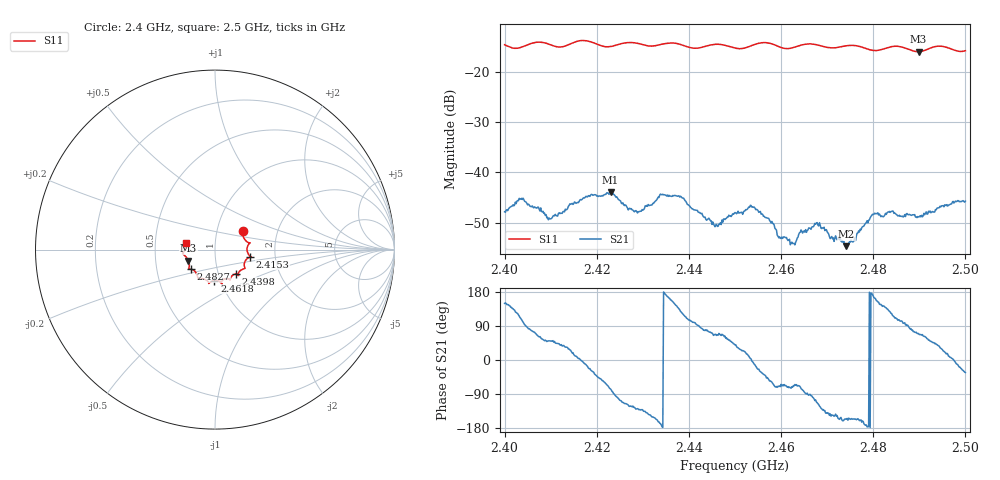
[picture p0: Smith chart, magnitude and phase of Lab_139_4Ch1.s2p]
# Hz S RI R 50
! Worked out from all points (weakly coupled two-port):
!   601 points, 2.4 GHz to 2.5 GHz, reference 50 ohm
!   highest |S21| = -43.90 dB at 2.423 GHz (marker M1); lowest = -54.7 dB at 2.4742 GHz (marker M2)
!   lowest |S11| = -15.9 dB at 2.4898 GHz (marker M3), VSWR 1.38, Z = 36.8 - j4.61 ohm
!   |S11| at or under -10 dB: start of sweep to end of sweep
!   S12 and S22 are empty: the file has one direction only
!   S11 on the Smith chart (normalised r, x): 2.4 GHz: 1.33, +0.29; 2.4153 GHz: 1.48, -0.12; 2.4398 GHz: 1.21, -0.34; 2.4618 GHz: 0.94, -0.33; 2.4827 GHz: 0.75, -0.17; 2.5 GHz: 0.72, +0.06
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2.4e9  0.155 0.1064  -0.00349 0.00206  0 0  0 0
2.403667e9  0.1705 0.0509  -0.00161 0.00528  0 0  0 0
2.409833e9  0.1867 0.0287  0.0022 0.00266  0 0  0 0
2.415333e9  0.1966 -0.039  0.00495 0.000897  0 0  0 0
2.416667e9  0.2026 -0.0432  0.00532 -0.000178  0 0  0 0
2.423e9  0.1633 -0.0768  0.00148 -0.00621  0 0  0 0
2.428667e9  0.164 -0.1054  -0.00258 -0.00318  0 0  0 0
2.433333e9  0.1298 -0.1342  -0.00542 -0.00165  0 0  0 0
2.437833e9  0.1292 -0.1409  -0.00412 0.00414  0 0  0 0
2.439833e9  0.1152 -0.136  -0.00137 0.00456  0 0  0 0
2.445833e9  0.0841 -0.1703  0.00114 0.00278  0 0  0 0
2.45e9  0.0651 -0.1617  0.00305 0.00256  0 0  0 0
2.453833e9  0.0358 -0.1825  0.00452 -0.000379  0 0  0 0
2.461833e9  -0.00302 -0.1728  0.000683 -0.00204  0 0  0 0
2.466667e9  -0.0347 -0.1881  -0.000244 -0.00284  0 0  0 0
2.468e9  -0.036 -0.1832  -0.00128 -0.00269  0 0  0 0
2.474167e9  -0.0896 -0.1603  -0.00168 -0.000755  0 0  0 0
2.479833e9  -0.1086 -0.1249  -0.00379 0.000467  0 0  0 0
2.482667e9  -0.135 -0.1087  -0.00294 0.00258  0 0  0 0
2.483333e9  -0.1402 -0.1084  -0.00262 0.00307  0 0  0 0
2.489833e9  -0.1482 -0.0609  0.00124 0.00338  0 0  0 0
2.5e9  -0.1592 0.039  0.00433 -0.00283  0 0  0 0
